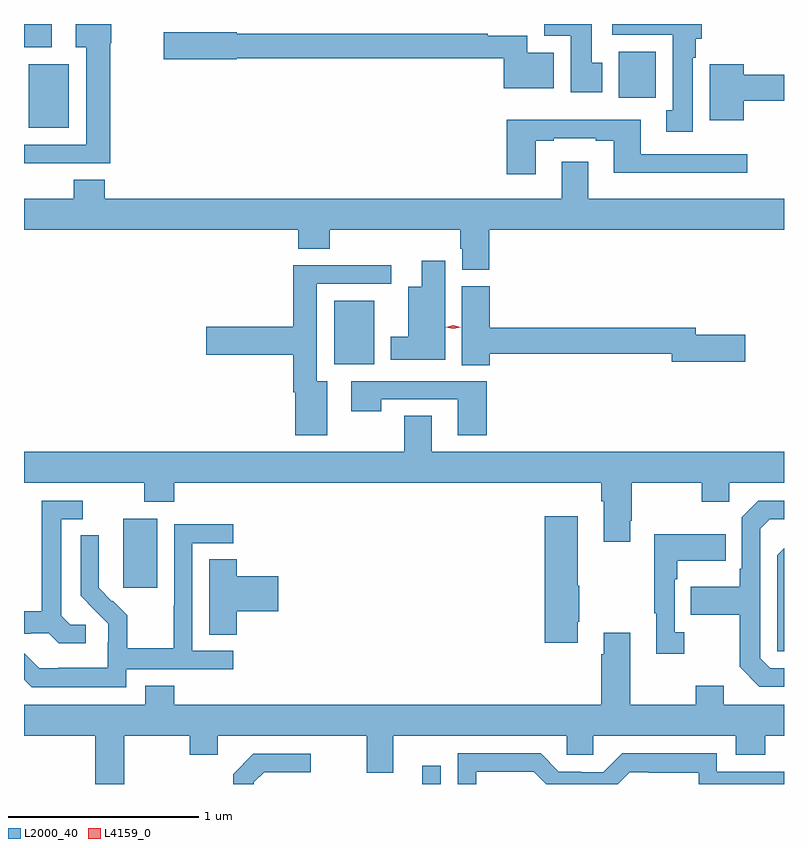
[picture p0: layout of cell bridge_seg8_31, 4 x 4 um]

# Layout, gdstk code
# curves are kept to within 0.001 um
import gdstk
lib = gdstk.Library(unit=1e-6, precision=1e-09)
def R(c, l, rs):  # rectangles x0, y0, x1, y1
    for r in rs: c.add(gdstk.rectangle(r[:2], r[2:], *l))
def P(c, l, *ps):  # polygons
    for p in ps: c.add(gdstk.Polygon(p, *l))
L2000_40 = (2000, 40)
L4159_0 = (4159, 0)

bridge_seg8_31 = lib.new_cell('bridge_seg8_31')
R(bridge_seg8_31, L2000_40, [(1091.327,1148.215,1091.423,1148.311), (1089.752,1149.249,1089.931,1149.61), (1090.862,1150.424,1091.074,1150.759), (1089.254,1151.669,1089.466,1152.004), (1092.359,1151.828,1092.556,1152.07), (1089.23,1152.093,1089.376,1152.215)])
P(bridge_seg8_31, L2000_40, [(1089.683,1152.114),(1089.688,1152.114),(1089.688,1152.215),(1089.503,1152.215),(1089.503,1152.092),(1089.557,1152.092),(1089.557,1151.58),(1089.23,1151.58),(1089.23,1151.483),(1089.683,1151.483)],
  [(1092.274,1152.012),(1092.217,1152.012),(1092.217,1152.215),(1091.968,1152.215),(1091.968,1152.152),(1092.107,1152.152),(1092.107,1151.856),(1092.274,1151.856)],
  [(1092.751,1152.038),(1092.766,1152.038),(1092.766,1152.138),(1092.796,1152.138),(1092.796,1152.215),(1092.327,1152.215),(1092.327,1152.158),(1092.644,1152.158),(1092.644,1151.762),(1092.611,1151.762),(1092.611,1151.649),(1092.751,1151.649)],
  [(1092.019,1152.064),(1091.878,1152.064),(1091.878,1152.152),(1091.672,1152.152),(1091.672,1152.163),(1090.35,1152.163),(1090.35,1152.171),(1089.966,1152.171),(1089.966,1152.029),(1090.35,1152.029),(1090.35,1152.034),(1091.756,1152.034),(1091.756,1151.876),(1092.019,1151.876)],
  [(1093.018,1151.812),(1093.23,1151.812),(1093.23,1151.948),(1093.018,1151.948),(1093.018,1152.004),(1092.839,1152.004),(1092.839,1151.708),(1093.018,1151.708)],
  [(1091.923,1151.601),(1092.019,1151.601),(1092.019,1151.613),(1092.239,1151.613),(1092.239,1151.601),(1092.335,1151.601),(1092.335,1151.432),(1093.036,1151.432),(1093.036,1151.529),(1092.475,1151.529),(1092.475,1151.71),(1091.771,1151.71),(1091.771,1151.424),(1091.923,1151.424)],
  [(1091.678,1151.132),(1093.23,1151.132),(1093.23,1151.296),(1092.199,1151.296),(1092.199,1151.491),(1092.059,1151.491),(1092.059,1151.296),(1089.656,1151.296),(1089.656,1151.395),(1089.491,1151.395),(1089.491,1151.296),(1089.23,1151.296),(1089.23,1151.132),(1090.673,1151.132),(1090.673,1151.033),(1090.838,1151.033),(1090.838,1151.132),(1091.525,1151.132),(1091.525,1151.031),(1091.537,1151.031),(1091.537,1150.921),(1091.678,1150.921)],
  [(1091.446,1150.969),(1091.324,1150.969),(1091.324,1150.831),(1091.252,1150.831),(1091.252,1150.57),(1091.159,1150.57),(1091.159,1150.448),(1091.446,1150.448)],
  [(1090.825,1150.336),(1090.771,1150.336),(1090.771,1150.848),(1091.164,1150.848),(1091.164,1150.946),(1090.646,1150.946),(1090.646,1150.622),(1090.188,1150.622),(1090.188,1150.475),(1090.646,1150.475),(1090.646,1150.277),(1090.658,1150.277),(1090.658,1150.05),(1090.825,1150.05)],
  [(1091.681,1150.48),(1092.638,1150.48),(1092.638,1150.438),(1093.027,1150.438),(1093.027,1150.58),(1092.766,1150.58),(1092.766,1150.616),(1091.681,1150.616),(1091.681,1150.836),(1091.534,1150.836),(1091.534,1150.42),(1091.681,1150.42)],
  [(1091.666,1150.335),(1090.953,1150.335),(1090.953,1150.176),(1091.109,1150.176),(1091.109,1150.239),(1091.513,1150.239),(1091.513,1150.05),(1091.666,1150.05)],
  [(1092.421,1149.601),(1092.429,1149.601),(1092.429,1149.8),(1092.796,1149.8),(1092.796,1149.701),(1092.942,1149.701),(1092.942,1149.8),(1093.23,1149.8),(1093.23,1149.964),(1091.377,1149.964),(1091.377,1150.154),(1091.23,1150.154),(1091.23,1149.964),(1089.23,1149.964),(1089.23,1149.8),(1089.862,1149.8),(1089.862,1149.701),(1090.022,1149.701),(1090.022,1149.8),(1092.269,1149.8),(1092.269,1149.704),(1092.281,1149.704),(1092.281,1149.489),(1092.421,1149.489)],
  [(1089.556,1149.054),(1089.474,1149.054),(1089.427,1149.101),(1089.427,1149.609),(1089.538,1149.609),(1089.538,1149.705),(1089.323,1149.705),(1089.323,1149.125),(1089.23,1149.125),(1089.23,1149.006),(1089.266,1149.006),(1089.266,1149.009),(1089.36,1149.009),(1089.412,1148.957),(1089.556,1148.957)],
  [(1093.23,1148.823),(1093.158,1148.823),(1093.104,1148.877),(1093.104,1149.558),(1093.155,1149.609),(1093.23,1149.609),(1093.23,1149.705),(1093.095,1149.705),(1093.008,1149.618),(1093.008,1149.349),(1092.996,1149.349),(1092.996,1149.253),(1092.739,1149.253),(1092.739,1149.106),(1092.996,1149.106),(1092.996,1148.833),(1093.101,1148.727),(1093.23,1148.727)],
  [(1092.145,1149.07),(1092.153,1149.07),(1092.153,1149.259),(1092.145,1149.259),(1092.145,1149.625),(1091.972,1149.625),(1091.972,1148.958),(1092.145,1148.958)],
  [(1089.768,1148.82),(1090.33,1148.82),(1090.33,1148.916),(1090.116,1148.916),(1090.116,1149.483),(1090.33,1149.483),(1090.33,1149.582),(1090.02,1149.582),(1090.02,1149.152),(1090.018,1149.152),(1090.018,1148.929),(1089.773,1148.929),(1089.773,1149.103),(1089.696,1149.18),(1089.693,1149.177),(1089.623,1149.248),(1089.624,1149.524),(1089.528,1149.524),(1089.528,1149.206),(1089.674,1149.058),(1089.674,1148.961),(1089.672,1148.961),(1089.672,1148.827),(1089.409,1148.827),(1089.409,1148.823),(1089.309,1148.823),(1089.23,1148.902),(1089.23,1148.764),(1089.271,1148.723),(1089.768,1148.723)],
  [(1092.706,1149.014),(1092.654,1149.014),(1092.654,1149.293),(1092.667,1149.293),(1092.667,1149.389),(1092.923,1149.389),(1092.923,1149.529),(1092.546,1149.529),(1092.546,1149.113),(1092.557,1149.113),(1092.557,1148.901),(1092.706,1148.901)],
  [(1093.23,1149.456),(1093.194,1149.42),(1093.194,1148.913),(1093.23,1148.913)],
  [(1090.349,1149.125),(1090.567,1149.125),(1090.567,1149.308),(1090.349,1149.308),(1090.349,1149.398),(1090.205,1149.398),(1090.205,1149.001),(1090.349,1149.001)],
  [(1089.757,1148.468),(1090.102,1148.468),(1090.102,1148.369),(1090.249,1148.369),(1090.249,1148.468),(1091.033,1148.468),(1091.033,1148.274),(1091.173,1148.274),(1091.173,1148.468),(1092.087,1148.468),(1092.087,1148.37),(1092.225,1148.37),(1092.225,1148.468),(1092.977,1148.468),(1092.977,1148.369),(1093.13,1148.369),(1093.13,1148.468),(1093.23,1148.468),(1093.23,1148.632),(1092.913,1148.632),(1092.913,1148.731),(1092.766,1148.731),(1092.766,1148.632),(1092.421,1148.632),(1092.421,1149.01),(1092.281,1149.01),(1092.281,1148.897),(1092.269,1148.897),(1092.269,1148.632),(1090.022,1148.632),(1090.022,1148.731),(1089.869,1148.731),(1089.869,1148.632),(1089.23,1148.632),(1089.23,1148.468),(1089.605,1148.468),(1089.605,1148.215),(1089.757,1148.215)],
  [(1091.61,1148.28),(1091.913,1148.28),(1091.978,1148.215),(1092.355,1148.215),(1092.417,1148.277),(1092.517,1148.277),(1092.517,1148.273),(1092.78,1148.273),(1092.78,1148.215),(1093.23,1148.215),(1093.23,1148.28),(1092.876,1148.28),(1092.876,1148.377),(1092.379,1148.377),(1092.279,1148.277),(1092.164,1148.277),(1092.164,1148.28),(1092.045,1148.28),(1091.949,1148.376),(1091.514,1148.376),(1091.514,1148.215),(1091.61,1148.215)],
  [(1090.44,1148.223),(1090.494,1148.277),(1090.738,1148.277),(1090.738,1148.373),(1090.437,1148.373),(1090.332,1148.267),(1090.332,1148.215),(1090.44,1148.215)])
P(bridge_seg8_31, L4159_0, [(1091.489,1150.61),(1091.45,1150.62),(1091.45,1150.62),(1091.45,1150.62),(1091.489,1150.63),(1091.528,1150.62),(1091.528,1150.62),(1091.528,1150.62)])

lib.write_gds('bridge_seg8_31.gds')
